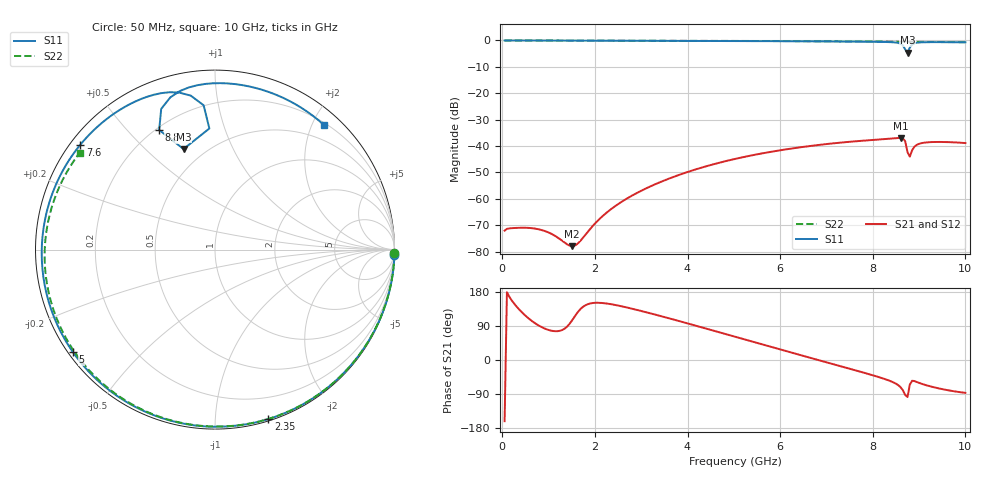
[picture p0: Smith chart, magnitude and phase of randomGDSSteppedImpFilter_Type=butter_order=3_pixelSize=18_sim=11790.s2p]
! freq	dB(S11)	phase(S11)	dB(S12)	phase(S12)
!  dB(S21)	phase(S21)	dB(S22)	phase(S22)
!S-par simulation data
#  GHz  S  DB  R 50
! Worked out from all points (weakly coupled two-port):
!   200 points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, 50 MHz to 10 GHz, reference 50 ohm
!   highest |S21| = -36.89 dB at 8.6 GHz (marker M1); lowest = -77.9 dB at 1.5 GHz (marker M2)
!   lowest |S11| = -4.6 dB at 8.75 GHz (marker M3), VSWR 3.84, Z = 19.3 + j33.1 ohm
!   |S11| at or under -10 dB: nowhere
!   |S22| runs from -0.7 to 0.0 dB; largest |S21 - S12| = 0
!   S11 on the Smith chart (normalised r, x): 50 MHz: 0, -71; 2.35 GHz: 0.01, -1.36; 5 GHz: 0.01, -0.32; 7.6 GHz: 0.03, +0.34; 8.8 GHz: 0.21, +0.62; 10 GHz: 0.24, +2.19
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0.05  -0.00 -1.6  -72.04 -161.5  -72.04 -161.5  -0.00 -1.2
0.35  -0.01 -11.3  -70.96 135.2  -70.96 135.2  -0.01 -8.3
0.8  -0.03 -25.6  -71.58 90.0  -71.58 90.0  -0.02 -18.9
1.5  -0.06 -47.3  -77.92 103.3  -77.92 103.3  -0.04 -35.0
1.75  -0.07 -54.9  -74.55 141.0  -74.55 141.0  -0.05 -40.7
2.35  -0.09 -72.6  -63.88 147.2  -63.88 147.2  -0.07 -54.2
3.4  -0.13 -102.0  -53.73 116.6  -53.73 116.6  -0.10 -76.8
4.15  -0.16 -122.0  -48.98 91.5  -48.98 91.5  -0.13 -92.4
5  -0.21 -144.2  -44.98 62.2  -44.98 62.2  -0.17 -109.5
5.05  -0.21 -145.5  -44.78 60.4  -44.78 60.4  -0.17 -110.5
5.9  -0.27 -167.9  -41.88 31.2  -41.88 31.2  -0.22 -127.3
6.7  -0.34 169.9  -39.86 4.1  -39.86 4.1  -0.28 -143.0
7.6  -0.44 142.2  -38.23 -26.3  -38.23 -26.3  -0.36 -161.0
8.35  -0.61 113.9  -37.26 -54.2  -37.26 -54.2  -0.44 -176.8
8.6  -1.23 98.9  -36.89 -71.7  -36.89 -71.7  -0.47 177.8
8.7  -3.41 92.7  -38.16 -92.4  -38.16 -92.4  -0.48 175.6
8.75  -4.62 107.4  -42.30 -97.7  -42.30 -97.7  -0.49 174.5
8.8  -2.67 115.0  -44.00 -64.9  -44.00 -64.9  -0.50 173.3
8.9  -1.07 106.3  -40.23 -55.7  -40.23 -55.7  -0.51 171.1
9.15  -0.66 90.7  -38.63 -66.4  -38.63 -66.4  -0.54 165.3
9.55  -0.65 71.0  -38.47 -78.1  -38.47 -78.1  -0.60 155.8
10  -0.70 48.6  -38.86 -86.7  -38.86 -86.7  -0.66 144.5
